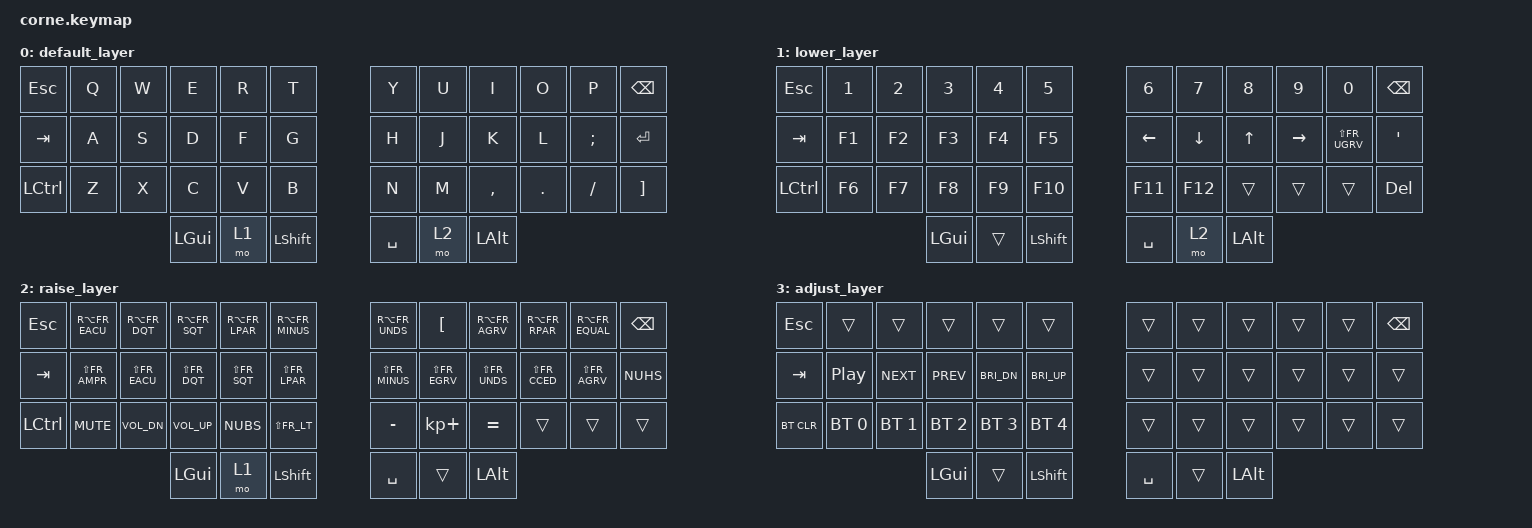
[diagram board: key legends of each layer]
/*
 * Copyright (c) 2020 The ZMK Contributors
 *
 * SPDX-License-Identifier: MIT
 */

#include <behaviors.dtsi>
#include <dt-bindings/zmk/keys.h>
#include <dt-bindings/zmk/bt.h>


/*
 * Here is a translation for all the French keys (AZERTY layout)
 */

#define FR_SUP2 GRAVE        // ²
#define FR_AMPR N1           // &
#define FR_EACU N2           // é
#define FR_DQT N3            // "
#define FR_SQT N4            // '
#define FR_LPAR N5           // (
#define FR_MINUS N6          // -
#define FR_EGRV N7           // è
#define FR_UNDS N8           // _
#define FR_CCED N9           // ç
#define FR_AGRV N0           // à
#define FR_RPAR MINUS        // )
#define FR_EQUAL EQUAL       // =
#define FR_A Q               // A
#define FR_Z W               // Z
#define FR_E E               // E
#define FR_R R               // R
#define FR_T T               // T
#define FR_Y Y               // Y
#define FR_U U               // U
#define FR_I I               // I
#define FR_O O               // O
#define FR_P P               // P
#define FR_CIRC LBKT         // ^
#define FR_DLR RBKT          // $
#define FR_Q A               // Q
#define FR_S S               // S
#define FR_D D               // D
#define FR_F F               // F
#define FR_G G               // G
#define FR_H H               // H
#define FR_J J               // J
#define FR_K K               // K
#define FR_L L               // L
#define FR_M SEMI            // M
#define FR_UGRV SQT          // ù
#define FR_AST NUHS          // *
#define FR_LT NUBS           // <
#define FR_W Z               // W
#define FR_X X               // X
#define FR_C C               // C
#define FR_V V               // V
#define FR_B B               // B
#define FR_N N               // N
#define FR_COMMA M           // .
#define FR_SEMI COMMA        // ;
#define FR_COLON DOT         // :
#define FR_EXCL FSLH         // !
#define FR_1 LS(FR_AMPR)     // 1
#define FR_2 LS(FR_EACU)     // 2
#define FR_3 LS(FR_DQT)      // 3
#define FR_4 LS(FR_SQT)      // 4
#define FR_5 LS(FR_LPAR)     // 5
#define FR_6 LS(FR_MINUS)    // 6
#define FR_7 LS(FR_EGRV)     // 7
#define FR_8 LS(FR_UNDS)     // 8
#define FR_9 LS(FR_CCED)     // 9
#define FR_0 LS(FR_AGRV)     // 0
#define FR_DEG LS(FR_RPAR)   // °
#define FR_PLUS LS(FR_EQUAL) // +
#define FR_DIAE LS(FR_CIRC)  // ¨
#define FR_PND  LS(FR_DLR)   // £
#define FR_PERC LS(FR_UGRV)  // %
#define FR_MICR LS(FR_AST)   // µ
#define FR_GT LS(FR_LT)      // >
#define FR_QUES LS(FR_COMMA) // ?
#define FR_DOT  LS(FR_SEMI)  // .
#define FR_SLSH LS(FR_COLON) // /
#define FR_SECT LS(FR_EXCL)  // §
#define FR_TILD RA(FR_EACU)  // ~
#define FR_HASH RA(FR_DQT)   // #
#define FR_LBRC RA(FR_SQT)   // {
#define FR_LBRK RA(FR_LPAR)  // [
#define FR_PIPE RA(FR_MINUS) // |
#define FR_GRV  RA(FR_EGRV)  // `
#define FR_BSLS RA(FR_UNDS)  // (backslash)
#define FR_AT   RA(FR_AGRV)  // @
#define FR_RBRK RA(FR_RPAR)  // ]
#define FR_RBRC RA(FR_EQUAL) // }
#define FR_EURO RA(E)        // €
#define FR_CURR RA(FR_DLR)   // ¤

/ {
          conditional_layers {
              compatible = "zmk,conditional-layers";
              tri_layer {
                  if-layers = <1 2>;
                  then-layer = <3>;
              };
          };
          keymap {
                compatible = "zmk,keymap";

                default_layer {
// -----------------------------------------------------------------------------------------
// | ESC |  A  |  Z  |  E   |  R  |  T   |   |  Y  |  U  |  I  |  O  |  P  | BKSP |
// | TAB |  Q  |  S  |  D   |  F  |  G   |   |  H  |  J  |  K  |  L  |  M  | ENT  |
// | CTRL|  W  |  X  |  C   |  V  |  B   |   |  N  |  ,  |  ;  |  :  |  !  |  $   |
//                   | GUI  | LWR | SHFT |   | SPC | RSE | ALT |
                        bindings = <
   &kp ESC   &kp FR_A &kp FR_Z &kp FR_E  &kp FR_R  &kp FR_T    &kp FR_Y    &kp FR_U     &kp FR_I    &kp FR_O     &kp FR_P    &kp BKSP
   &kp TAB   &kp FR_Q &kp FR_S &kp FR_D  &kp FR_F  &kp FR_G    &kp FR_H    &kp FR_J     &kp FR_K    &kp FR_L     &kp FR_M    &kp RET
   &kp LCTRL &kp FR_W &kp FR_X &kp FR_C  &kp FR_V  &kp FR_B    &kp FR_N    &kp FR_COMMA &kp FR_SEMI &kp FR_COLON &kp FR_EXCL &kp FR_DLR
                               &kp LGUI  &mo 1     &kp LSHFT    &kp SPACE   &mo 2        &kp LALT
                        >;
                };
                lower_layer {
// -----------------------------------------------------------------------------------------
// | ESC  |  & |  é |  " |  ' |  (  |   |  -  |  è  |  _  |  ç  |  à  | BKSP |
// | TAB  | F1 | F2 | F3 | F4 | F5  |   | LFT | DWN | UP  | RGT |  %  |  ù   |
// | CTRL | F6 | F7 | F8 | F9 | F10 |   | F11 | F12 |     |     |     | DEL  |
//                     | GUI |     | SHFT |   | SPC | RSE | ALT |
                        bindings = <
   &kp ESC   &kp FR_AMPR &kp FR_EACU &kp FR_DQT &kp FR_SQT &kp FR_LPAR &kp FR_MINUS &kp FR_EGRV &kp FR_UNDS &kp FR_CCED &kp FR_AGRV &kp BKSP
   &kp TAB   &kp F1      &kp F2      &kp F3     &kp F4     &kp F5      &kp LEFT     &kp DOWN    &kp UP      &kp RIGHT   &kp FR_PERC &kp FR_UGRV
   &kp LCTRL &kp F6      &kp F7      &kp F8     &kp F9     &kp F10     &kp F11      &kp F12     &trans      &trans      &trans      &kp DEL
                                     &kp LGUI   &trans     &kp LSHFT   &kp SPACE    &mo 2       &kp LALT
                        >;
                };

                raise_layer {
// -----------------------------------------------------------------------------------------
// | ESC  |  ~  |  #  |  {  |  [  | "|"  |   |  \  | ^ |  @  | ] | } | BKSP |
// | TAB  |  1  |  2  |  3  |  4  |  5   |   |  6  | 7 |  8  | 9 | 0 |  *   |
// | CTRL | VMU | VDO | VUP |  <  |  >   |   |  )  | + |  =  |   |   |      |
//                    | GUI | LWR | SHFT |   | SPC |   | ALT |
                        bindings = <
   &kp ESC   &kp FR_TILD &kp FR_HASH  &kp FR_LBRC  &kp FR_LBRK &kp FR_PIPE &kp FR_BSLS &kp FR_CIRC &kp FR_AT    &kp FR_RBRK &kp FR_RBRC &kp BKSP
   &kp TAB   &kp FR_1    &kp FR_2     &kp FR_3     &kp FR_4    &kp FR_5    &kp FR_6    &kp FR_7    &kp FR_8     &kp FR_9    &kp FR_0    &kp FR_AST
   &kp LCTRL &kp C_MUTE  &kp C_VOL_DN &kp C_VOL_UP &kp FR_LT   &kp FR_GT   &kp FR_RPAR &kp KP_PLUS &kp FR_EQUAL &trans      &trans      &trans
                                      &kp LGUI     &mo 1       &kp LSHFT   &kp SPACE   &trans      &kp LALT
                        >;
                };

                adjust_layer {
// -----------------------------------------------------------------------------------------
// |  ESC  |     |     |     |     |      |   |     |     |     |     |     | BKSP |
// |  TAB  |PL/PA| PRE | NEX | BDO | BUP  |   |     |     |     |     |     |      |
// | BTCLR | BT1 | BT2 | BT3 | BT4 | BT5  |   |     |     |     |     |     |      |
//                     | GUI |     | SHFT |   | SPC |     | ALT |
                        bindings = <
   &kp ESC    &trans       &trans       &trans       &trans       &trans        &trans    &trans &trans &trans &trans &kp BKSP
   &kp TAB    &kp C_PP     &kp C_NEXT   &kp C_PREV   &kp C_BRI_DN &kp C_BRI_UP  &trans    &trans &trans &trans &trans &trans
   &bt BT_CLR &bt BT_SEL 0 &bt BT_SEL 1 &bt BT_SEL 2 &bt BT_SEL 3 &bt BT_SEL 4  &trans    &trans &trans &trans &trans &trans 
                                          &kp LGUI     &trans       &kp LSHFT     &kp SPACE &trans &kp LALT
                          >;
                  };
        };
};
